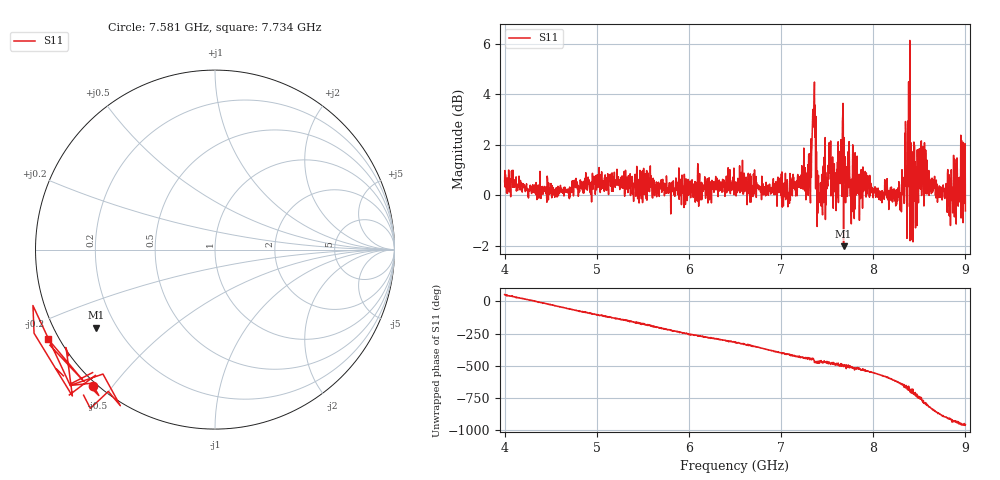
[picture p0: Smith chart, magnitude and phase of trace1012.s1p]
! Created with skrf 1.8.0 (http://scikit-rf.org).
# Hz S RI R 50.0
!freq ReS11 ImS11
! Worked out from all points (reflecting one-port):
!   1601 points, 4 GHz to 9 GHz, reference 50 ohm
!   lowest |S11| = -2.0 dB at 7.678 GHz (marker M1), VSWR 8.67, Z = 6.27 - j14.7 ohm
!   phase of S11 starts at 54 deg and turns -1013 deg over the sweep
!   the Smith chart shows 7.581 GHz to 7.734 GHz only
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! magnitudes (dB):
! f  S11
! 4 GHz  0.5
! 4.625 GHz  0.1
! 5.25 GHz  0.2
! 5.875 GHz  0.3
! 6.5 GHz  0.3
! 7.075 GHz  -0.5
! 7.125 GHz  0.5
! 7.294 GHz  0.0
! 7.347 GHz  3.4
! 7.362 GHz  4.5
! 7.412 GHz  0.1
! 7.538 GHz  2.1
! 7.591 GHz  0.1
! 7.65 GHz  2.2
! 7.678 GHz  -2.0
! 7.703 GHz  0.9
! 7.75 GHz  0.1
! 8.281 GHz  0.4
! 8.316 GHz  0.7
! 8.334 GHz  -0.3
! 8.347 GHz  0.4
! 8.375 GHz  2.9
! 8.447 GHz  2.0
! 8.519 GHz  2.1
! 8.7 GHz  0.0
! 8.844 GHz  -0.2
! 8.972 GHz  0.5
! 9 GHz  -0.6
